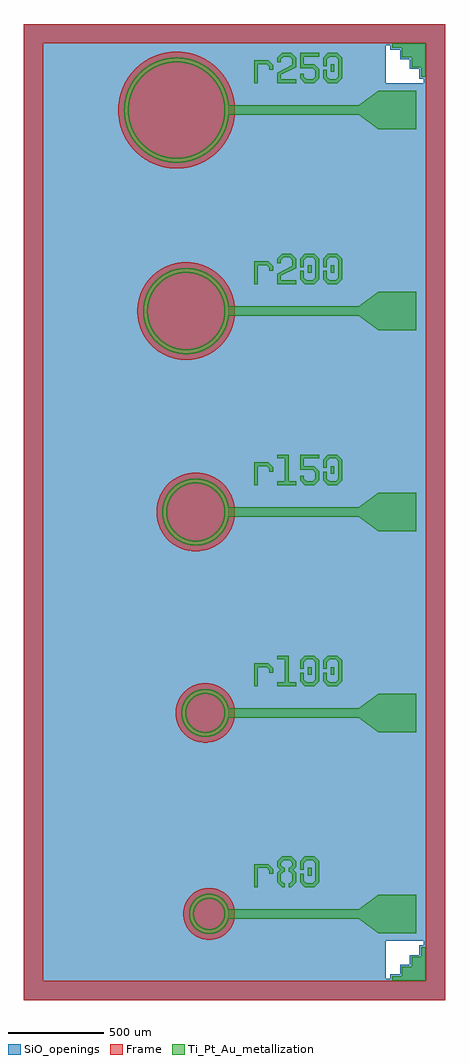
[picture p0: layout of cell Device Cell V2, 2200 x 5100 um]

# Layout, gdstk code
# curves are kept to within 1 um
from math import pi, radians
import gdstk
lib = gdstk.Library(unit=1e-6, precision=1e-09)
def R(c, l, rs):  # rectangles x0, y0, x1, y1
    for r in rs: c.add(gdstk.rectangle(r[:2], r[2:], *l))
def P(c, l, *ps):  # polygons
    for p in ps: c.add(gdstk.Polygon(p, *l))
Frame = (1, 0)
SiO_openings = (2, 0)
Ti_Pt_Au_metallization = (3, 0)

frame_tile = lib.new_cell('Frame Tile')

frame_tile_375 = lib.new_cell('Frame Tile_375')
P(frame_tile_375, Frame, [(0,0),(-100,-100),(-100,5000),(2100,5000),(2100,-100),(-100,-100),(0,0),(2000,0),(2000,4900),(0,4900)])

trapezoid_connection_ele = lib.new_cell('Trapezoid Connection Electrodes Pads')
P(trapezoid_connection_ele, Ti_Pt_Au_metallization, [(0,25),(0,-25),(100,-100),(100,100)])

rf_metal_rings = lib.new_cell('RF metal rings')

devices = lib.new_cell('Devices')
P(devices, Frame, [(0,135),(25.296,132.609),(50.821,125.069),(74.371,112.667),(95.03,95.887),(111.995,75.379),(124.607,51.942),(132.376,26.486),(135,0),(132.609,-25.296),(125.069,-50.821),(112.667,-74.371),(95.887,-95.03),(75.379,-111.995),(51.942,-124.607),(26.486,-132.376),(0,-135),(-25.296,-132.609),(-50.821,-125.069),(-74.371,-112.667),(-95.03,-95.887),(-111.995,-75.379),(-124.607,-51.942),(-132.376,-26.486),(-135,0),(-132.609,25.296),(-125.069,50.821),(-112.667,74.371),(-95.887,95.03),(-75.379,111.995),(-51.942,124.607),(-26.486,132.376)])
R(devices, Ti_Pt_Au_metallization, [(882.5,-100,1082.5,100), (82.5,-25,782.5,25), (515,200,535,240)])
P(devices, Ti_Pt_Au_metallization, [(0,-105),(20.629,-102.954),(39.582,-97.254),(57.917,-87.582),(73.996,-74.496),(87.189,-58.506),(96.985,-40.236),(103,-20.398),(104.998,-0.708),(103.09,19.935),(97.165,39.8),(87.452,58.114),(74.33,74.163),(58.31,87.321),(40.018,97.075),(21.092,102.86),(0.472,104.999),(-20.166,103.045),(-40.018,97.075),(-58.31,87.321),(-74.33,74.163),(-87.452,58.114),(-97.165,39.8),(-102.907,20.86),(-105,0.236),(-103,-20.398),(-96.985,-40.236),(-87.189,-58.506),(-73.996,-74.496),(-57.917,-87.582),(-39.582,-97.254),(-20.629,-102.954),(0,-105),(0,-80),(-20.619,-77.297),(-39.844,-69.372),(-56.378,-56.759),(-69.461,-39.688),(-76.129,-24.585),(-79.627,-7.718),(-79.433,9.506),(-75.557,26.289),(-66.63,44.277),(-53.504,59.476),(-37.006,70.926),(-18.177,77.908),(1.798,79.98),(21.659,77.012),(40.156,69.192),(56.632,56.505),(69.99,38.748),(78.107,17.301),(79.853,-4.851),(75.438,-26.628),(63.93,-48.093),(46.498,-65.1),(24.071,-76.293),(0,-80)],
  [(235,140),(235,260),(309.144,260),(335,234.144),(335,210),(315,210),(315,225.856),(300.856,240),(255,240),(255,140)],
  [(380.856,140),(355,165.856),(355,214.144),(370.856,230),(355,245.856),(355,274.144),(380.856,300),(429.144,300),(455,274.144),(455,245.856),(439.144,230),(455,214.144),(455,165.856),(429.144,140),(414.8,140),(414.8,160),(420.856,160),(435,174.144),(435,205.856),(420.856,220),(414.8,220),(414.8,240),(420.856,240),(435,254.144),(435,265.856),(420.856,280),(389.144,280),(375,265.856),(375,254.144),(389.144,240),(395.2,240),(395.2,220),(389.144,220),(375,205.856),(375,174.144),(389.144,160),(395.2,160),(395.2,140)],
  [(500.856,140),(475,165.856),(475,210),(495,210),(495,174.144),(509.144,160),(540.856,160),(555,174.144),(555,265.856),(540.856,280),(509.144,280),(495,265.856),(495,230),(475,230),(475,274.144),(500.856,300),(549.144,300),(575,274.144),(575,165.856),(549.144,140)])
devices.add(gdstk.Reference(trapezoid_connection_ele, (782.5,0)))
devices.add(gdstk.Reference(rf_metal_rings, (109.274,130.228), rotation=radians(50)))

metal_corner_1_0_0_0_0 = lib.new_cell('Metal Corner:1,0,0,0,0')
R(metal_corner_1_0_0_0_0, Ti_Pt_Au_metallization, [(0,-25,175,0), (0,0,125,50), (0,50,75,100), (0,100,25,150)])

metal_corner_holes = lib.new_cell('Metal Corner Holes')

metal_corner_1_0_0_0_0_3 = lib.new_cell('Metal Corner:1,0,0,0,0_394')
R(metal_corner_1_0_0_0_0_3, Ti_Pt_Au_metallization, [(0,-25,175,0), (0,0,125,50), (0,50,75,100), (0,100,25,150)])

metal_corner_holes_399 = lib.new_cell('Metal Corner Holes_399')

c_trapezoid_connection_ele = lib.new_cell('Trapezoid Connection Electrodes Pads_407')
P(c_trapezoid_connection_ele, Ti_Pt_Au_metallization, [(0,25),(0,-25),(100,-100),(100,100)])

rf_metal_rings_409 = lib.new_cell('RF metal rings_409')

devices_405 = lib.new_cell('Devices_405')
P(devices_405, Frame, [(0,155),(30.41,151.988),(59.637,143.068),(85.389,129.359),(109.109,110.092),(128.587,86.547),(143.068,59.637),(151.988,30.41),(155,0),(151.988,-30.41),(143.068,-59.637),(129.359,-85.389),(110.092,-109.109),(86.547,-128.587),(59.637,-143.068),(30.41,-151.988),(0,-155),(-30.41,-151.988),(-59.637,-143.068),(-85.389,-129.359),(-109.109,-110.092),(-128.587,-86.547),(-143.068,-59.637),(-151.988,-30.41),(-155,0),(-151.988,30.41),(-143.068,59.637),(-129.359,85.389),(-110.092,109.109),(-86.547,128.587),(-59.637,143.068),(-30.41,151.988)])
R(devices_405, Ti_Pt_Au_metallization, [(902.5,-100,1102.5,100), (102.5,-25,802.5,25), (535,200,555,240), (655,200,675,240)])
P(devices_405, Ti_Pt_Au_metallization, [(0,-125),(24.558,-122.564),(48.16,-115.35),(69.884,-103.64),(88.09,-88.686),(103.797,-69.651),(115.458,-47.9),(122.619,-24.283),(125,0.281),(122.508,24.834),(115.242,48.419),(103.483,70.116),(88.488,88.289),(70.349,103.325),(48.678,115.133),(25.109,122.452),(0.562,124.999),(-24.007,122.673),(-47.641,115.565),(-69.417,103.953),(-88.488,88.289),(-103.483,70.116),(-115.242,48.419),(-122.508,24.834),(-125,0.281),(-122.619,-24.283),(-115.458,-47.9),(-103.797,-69.651),(-88.09,-88.686),(-69.884,-103.64),(-48.16,-115.35),(-24.558,-122.564),(0,-125),(0,-100),(-25.773,-96.622),(-49.024,-87.159),(-69.831,-71.579),(-85.921,-51.163),(-94.881,-31.585),(-99.533,-9.648),(-99.292,11.882),(-94.147,33.709),(-82.786,56.093),(-66.209,74.943),(-45.459,89.07),(-21.845,97.585),(3.146,99.951),(27.938,96.018),(50.97,86.035),(70.79,70.631),(80.182,59.756),(87.919,47.647),(97.634,21.626),(99.816,-6.064),(97.916,-20.307),(93.995,-34.132),(87.704,-48.041),(79.37,-60.832),(69.185,-72.204),(57.388,-81.894),(44.254,-89.675),(30.088,-95.366),(15.222,-98.835),(0,-100)],
  [(255,140),(255,260),(329.144,260),(355,234.144),(355,210),(335,210),(335,225.856),(320.856,240),(275,240),(275,140)],
  [(375,140),(375,160),(415,160),(415,280),(375,280),(375,300),(435,300),(435,160),(475,160),(475,140)],
  [(520.856,140),(495,165.856),(495,210),(515,210),(515,174.144),(529.144,160),(560.856,160),(575,174.144),(575,265.856),(560.856,280),(529.144,280),(515,265.856),(515,230),(495,230),(495,274.144),(520.856,300),(569.144,300),(595,274.144),(595,165.856),(569.144,140)],
  [(640.856,140),(615,165.856),(615,210),(635,210),(635,174.144),(649.144,160),(680.856,160),(695,174.144),(695,265.856),(680.856,280),(649.144,280),(635,265.856),(635,230),(615,230),(615,274.144),(640.856,300),(689.144,300),(715,274.144),(715,165.856),(689.144,140)])
devices_405.add(gdstk.Reference(c_trapezoid_connection_ele, (802.5,0)))
devices_405.add(gdstk.Reference(rf_metal_rings_409, (122.13,145.548), rotation=radians(50)))

metal_corner_1_0_0_0_0_4 = lib.new_cell('Metal Corner:1,0,0,0,0_411')
R(metal_corner_1_0_0_0_0_4, Ti_Pt_Au_metallization, [(0,-25,175,0), (0,0,125,50), (0,50,75,100), (0,100,25,150)])

metal_corner_holes_416 = lib.new_cell('Metal Corner Holes_416')

c_metal_corner_1_0_0_0_0_4 = lib.new_cell('Metal Corner:1,0,0,0,0_422')
R(c_metal_corner_1_0_0_0_0_4, Ti_Pt_Au_metallization, [(0,-25,175,0), (0,0,125,50), (0,50,75,100), (0,100,25,150)])

metal_corner_holes_427 = lib.new_cell('Metal Corner Holes_427')

c_trapezoid_connection_ele_ = lib.new_cell('Trapezoid Connection Electrodes Pads_435')
P(c_trapezoid_connection_ele_, Ti_Pt_Au_metallization, [(0,25),(0,-25),(100,-100),(100,100)])

rf_metal_rings_437 = lib.new_cell('RF metal rings_437')

devices_433 = lib.new_cell('Devices_433')
P(devices_433, Frame, [(0,205),(40.219,201.016),(78.875,189.219),(112.934,171.088),(144.305,145.606),(170.067,114.465),(189.219,78.875),(201.016,40.219),(205,0),(201.016,-40.219),(189.219,-78.875),(171.088,-112.934),(145.606,-144.305),(114.465,-170.067),(78.875,-189.219),(40.219,-201.016),(0,-205),(-40.219,-201.016),(-78.875,-189.219),(-112.934,-171.088),(-144.305,-145.606),(-170.067,-114.465),(-189.219,-78.875),(-201.016,-40.219),(-205,0),(-201.016,40.219),(-189.219,78.875),(-171.088,112.934),(-145.606,144.305),(-114.465,170.067),(-78.875,189.219),(-40.219,201.016)])
R(devices_433, Ti_Pt_Au_metallization, [(952.5,-100,1152.5,100), (152.5,-25,852.5,25), (705,200,725,240)])
P(devices_433, Ti_Pt_Au_metallization, [(0,-175),(34.382,-171.589),(67.423,-161.49),(97.837,-145.096),(124.437,-123.047),(146.186,-96.201),(162.238,-65.605),(171.965,-32.452),(175,0.393),(171.512,34.767),(161.941,66.333),(145.753,96.857),(123.883,123.605),(98.488,144.655),(68.149,161.186),(35.153,171.433),(0.787,174.998),(-33.61,171.742),(-66.697,161.792),(-97.184,145.534),(-123.883,123.605),(-145.753,96.857),(-161.941,66.333),(-171.512,34.767),(-175,0.393),(-171.965,-32.452),(-162.238,-65.605),(-146.186,-96.201),(-124.437,-123.047),(-97.837,-145.096),(-67.423,-161.49),(-34.382,-171.589),(0,-175),(0,-150),(-18.827,-148.814),(-37.356,-145.274),(-55.294,-139.437),(-72.358,-131.394),(-89.363,-120.475),(-103.778,-108.306),(-116.551,-94.424),(-127.48,-79.049),(-141.89,-48.655),(-146.595,-31.78),(-149.3,-14.472),(-149.969,3.034),(-148.593,20.498),(-140.289,53.094),(-132.516,70.282),(-122.647,86.358),(-111.742,100.069),(-98.299,113.302),(-83.3,124.744),(-66.985,134.213),(-49.61,141.559),(-31.45,146.666),(-12.794,149.453),(6.066,149.877),(24.829,147.931),(43.2,143.645),(60.887,137.087),(76.455,129.053),(92.048,118.436),(106.185,105.947),(120.274,89.634),(131.879,71.47),(140.761,51.831),(146.736,31.121),(149.682,9.768),(149.636,-10.441),(146.595,-31.78),(140.526,-52.463),(130.903,-73.242),(118.229,-92.314),(103.778,-108.306),(86.082,-122.841),(66.381,-134.512),(45.133,-143.049),(22.832,-148.252),(0,-150)],
  [(305,140),(305,260),(379.144,260),(405,234.144),(405,210),(385,210),(385,225.856),(370.856,240),(325,240),(325,140)],
  [(425,140),(425,160),(465,160),(465,280),(425,280),(425,300),(485,300),(485,160),(525,160),(525,140)],
  [(570.856,140),(545,165.856),(545,190),(565,190),(565,174.144),(579.144,160),(610.856,160),(625,174.144),(625,205.856),(610.856,220),(545,220),(545,300),(645,300),(645,280),(565,280),(565,240),(619.144,240),(645,214.144),(645,165.856),(619.144,140)],
  [(690.856,140),(665,165.856),(665,210),(685,210),(685,174.144),(699.144,160),(730.856,160),(745,174.144),(745,265.856),(730.856,280),(699.144,280),(685,265.856),(685,230),(665,230),(665,274.144),(690.856,300),(739.144,300),(765,274.144),(765,165.856),(739.144,140)])
devices_433.add(gdstk.Reference(c_trapezoid_connection_ele_, (852.5,0)))
devices_433.add(gdstk.Reference(rf_metal_rings_437, (154.269,183.851), rotation=radians(50)))

c_metal_corner_1_0_0_0_0_4_ = lib.new_cell('Metal Corner:1,0,0,0,0_439')
R(c_metal_corner_1_0_0_0_0_4_, Ti_Pt_Au_metallization, [(0,-25,175,0), (0,0,125,50), (0,50,75,100), (0,100,25,150)])

metal_corner_holes_444 = lib.new_cell('Metal Corner Holes_444')

c_metal_corner_1_0_0_0_0_4__ = lib.new_cell('Metal Corner:1,0,0,0,0_450')
R(c_metal_corner_1_0_0_0_0_4__, Ti_Pt_Au_metallization, [(0,-25,175,0), (0,0,125,50), (0,50,75,100), (0,100,25,150)])

metal_corner_holes_455 = lib.new_cell('Metal Corner Holes_455')

c_trapezoid_connection_ele__ = lib.new_cell('Trapezoid Connection Electrodes Pads_463')
P(c_trapezoid_connection_ele__, Ti_Pt_Au_metallization, [(0,25),(0,-25),(100,-100),(100,100)])

rf_metal_rings_465 = lib.new_cell('RF metal rings_465')

devices_461 = lib.new_cell('Devices_461')
P(devices_461, Frame, [(0,255),(25.137,253.758),(50.029,250.044),(74.433,243.895),(98.113,235.37),(120.837,224.552),(142.383,211.547),(160.773,197.932),(179.501,181.12),(196.481,162.543),(211.547,142.383),(224.552,120.837),(235.37,98.113),(243.895,74.433),(250.044,50.029),(253.758,25.137),(255,0),(253.758,-25.137),(250.044,-50.029),(243.895,-74.433),(235.37,-98.113),(224.552,-120.837),(211.547,-142.383),(197.932,-160.773),(181.12,-179.501),(162.543,-196.481),(142.383,-211.547),(120.837,-224.552),(98.113,-235.37),(74.433,-243.895),(50.029,-250.044),(25.137,-253.758),(0,-255),(-25.137,-253.758),(-50.029,-250.044),(-74.433,-243.895),(-98.113,-235.37),(-120.837,-224.552),(-142.383,-211.547),(-160.773,-197.932),(-179.501,-181.12),(-196.481,-162.543),(-211.547,-142.383),(-224.552,-120.837),(-235.37,-98.113),(-243.895,-74.433),(-250.044,-50.029),(-253.758,-25.137),(-255,0),(-253.758,25.137),(-250.044,50.029),(-243.895,74.433),(-235.37,98.113),(-224.552,120.837),(-211.547,142.383),(-197.932,160.773),(-181.12,179.501),(-162.543,196.481),(-142.383,211.547),(-120.837,224.552),(-98.113,235.37),(-74.433,243.895),(-50.029,250.044),(-25.137,253.758)])
R(devices_461, Ti_Pt_Au_metallization, [(1002.5,-100,1202.5,100), (202.5,-25,902.5,25), (635,200,655,240), (755,200,775,240)])
P(devices_461, Ti_Pt_Au_metallization, [(0,-225),(22.211,-223.901),(44.205,-220.615),(84.818,-208.401),(104.976,-199.01),(124.109,-187.675),(142.029,-174.507),(158.562,-159.634),(173.546,-143.202),(186.835,-125.371),(207.041,-88.085),(214.725,-67.217),(220.312,-45.692),(223.746,-23.72),(224.995,-1.517),(224.046,20.701),(220.908,42.717),(215.612,64.315),(208.21,85.286),(198.774,105.423),(187.396,124.53),(160.7,157.482),(144.369,172.576),(126.628,185.985),(107.649,197.577),(87.62,207.239),(66.734,214.876),(45.196,220.414),(23.217,223.799),(1.011,224.998),(-21.205,223.999),(-43.213,220.811),(-64.8,215.467),(-85.753,208.018),(-105.869,198.536),(-124.951,187.116),(-142.812,173.867),(-159.278,158.92),(-174.188,142.421),(-187.396,124.53),(-198.774,105.423),(-208.21,85.286),(-215.612,64.315),(-220.908,42.717),(-224.999,0.506),(-221.098,-41.724),(-215.899,-63.346),(-208.591,-84.349),(-199.246,-104.528),(-187.954,-123.686),(-174.826,-141.636),(-159.99,-158.203),(-143.592,-173.224),(-125.79,-186.552),(-106.76,-198.059),(-86.687,-207.63),(-65.768,-215.173),(-44.205,-220.615),(-22.211,-223.901),(0,-225),(0,-200),(-25.102,-198.418),(-49.808,-193.699),(-73.725,-185.916),(-96.477,-175.192),(-117.702,-161.698),(-137.067,-145.646),(-154.263,-127.291),(-169.02,-106.922),(-180.333,-86.487),(-189.186,-64.873),(-195.46,-42.373),(-199.067,-19.296),(-199.959,4.045),(-198.124,27.33),(-193.586,50.243),(-186.408,72.47),(-175.838,95.293),(-162.487,116.61),(-146.567,136.082),(-129.702,152.242),(-109.568,167.317),(-87.701,179.746),(-66.147,188.745),(-41.934,195.554),(-17.058,199.271),(8.088,199.836),(33.106,197.241),(57.6,191.526),(81.183,182.782),(101.94,172.071),(122.731,157.915),(141.58,141.262),(160.365,119.512),(175.838,95.293),(187.681,69.107),(195.648,41.494),(199.575,13.025),(199.382,-15.714),(195.071,-44.129),(186.732,-71.632),(176.265,-94.502),(161.962,-117.339),(145.954,-136.739),(126.248,-155.118),(98.048,-174.318),(66.994,-188.446),(33.992,-197.09),(0,-200)],
  [(355,140),(355,260),(429.144,260),(455,234.144),(455,210),(435,210),(435,225.856),(420.856,240),(375,240),(375,140)],
  [(475,140),(475,196.18),(555,236.18),(555,265.856),(540.856,280),(509.144,280),(495,265.856),(495,250),(475,250),(475,274.144),(500.856,300),(549.144,300),(575,274.144),(575,223.82),(495,183.82),(495,160),(575,160),(575,140)],
  [(620.856,140),(595,165.856),(595,210),(615,210),(615,174.144),(629.144,160),(660.856,160),(675,174.144),(675,265.856),(660.856,280),(629.144,280),(615,265.856),(615,230),(595,230),(595,274.144),(620.856,300),(669.144,300),(695,274.144),(695,165.856),(669.144,140)],
  [(740.856,140),(715,165.856),(715,210),(735,210),(735,174.144),(749.144,160),(780.856,160),(795,174.144),(795,265.856),(780.856,280),(749.144,280),(735,265.856),(735,230),(715,230),(715,274.144),(740.856,300),(789.144,300),(815,274.144),(815,165.856),(789.144,140)])
devices_461.add(gdstk.Reference(c_trapezoid_connection_ele__, (902.5,0)))
devices_461.add(gdstk.Reference(rf_metal_rings_465, (186.408,222.153), rotation=radians(50)))

c_metal_corner_1_0_0_0_0_4___ = lib.new_cell('Metal Corner:1,0,0,0,0_467')
R(c_metal_corner_1_0_0_0_0_4___, Ti_Pt_Au_metallization, [(0,-25,175,0), (0,0,125,50), (0,50,75,100), (0,100,25,150)])

metal_corner_holes_472 = lib.new_cell('Metal Corner Holes_472')

c_metal_corner_1_0_0_0_0_4____ = lib.new_cell('Metal Corner:1,0,0,0,0_478')
R(c_metal_corner_1_0_0_0_0_4____, Ti_Pt_Au_metallization, [(0,-25,175,0), (0,0,125,50), (0,50,75,100), (0,100,25,150)])

metal_corner_holes_483 = lib.new_cell('Metal Corner Holes_483')

c_trapezoid_connection_ele___ = lib.new_cell('Trapezoid Connection Electrodes Pads_491')
P(c_trapezoid_connection_ele___, Ti_Pt_Au_metallization, [(0,25),(0,-25),(100,-100),(100,100)])

rf_metal_rings_493 = lib.new_cell('RF metal rings_493')

devices_489 = lib.new_cell('Devices_489')
P(devices_489, Frame, [(0,305),(30.066,303.515),(59.838,299.073),(86.406,292.505),(114.819,282.563),(142.113,269.868),(168.024,254.545),(192.297,236.742),(214.697,216.633),(235.007,194.414),(253.026,170.302),(268.582,144.53),(281.521,117.35),(291.717,89.028),(299.073,59.838),(303.515,30.066),(305,0),(303.515,-30.066),(299.073,-59.838),(292.505,-86.406),(282.563,-114.819),(269.868,-142.113),(254.545,-168.024),(236.742,-192.297),(216.633,-214.697),(194.414,-235.007),(170.302,-253.026),(144.53,-268.582),(117.35,-281.521),(89.028,-291.717),(59.838,-299.073),(30.066,-303.515),(0,-305),(-30.066,-303.515),(-59.838,-299.073),(-86.406,-292.505),(-114.819,-282.563),(-142.113,-269.868),(-168.024,-254.545),(-192.297,-236.742),(-214.697,-216.633),(-235.007,-194.414),(-253.026,-170.302),(-268.582,-144.53),(-281.521,-117.35),(-291.717,-89.028),(-299.073,-59.838),(-303.515,-30.066),(-305,0),(-303.515,30.066),(-299.073,59.838),(-292.505,86.406),(-282.563,114.819),(-269.868,142.113),(-254.545,168.024),(-236.742,192.297),(-216.633,214.697),(-194.414,235.007),(-170.302,253.026),(-144.53,268.582),(-117.35,281.521),(-89.028,291.717),(-59.838,299.073),(-30.066,303.515)])
R(devices_489, Ti_Pt_Au_metallization, [(1052.5,-100,1252.5,100), (252.5,-25,952.5,25), (805,200,825,240)])
P(devices_489, Ti_Pt_Au_metallization, [(0,-275),(24.686,-273.89),(51.603,-270.115),(78.015,-263.702),(103.666,-254.712),(128.304,-243.235),(151.688,-229.381),(173.591,-213.287),(193.798,-195.109),(212.112,-175.025),(228.353,-153.231),(242.364,-129.941),(254.008,-105.381),(263.17,-79.791),(269.761,-53.423),(273.468,-28.991),(274.994,-1.854),(273.834,25.301),(269.998,52.21),(263.526,78.608),(254.479,104.238),(242.946,128.85),(229.04,152.203),(212.896,174.07),(194.673,194.236),(174.548,212.504),(152.718,228.697),(129.396,242.656),(107.091,253.292),(81.564,262.626),(55.24,269.395),(28.377,273.532),(1.236,274.997),(-25.917,273.776),(-52.816,269.88),(-79.2,263.348),(-104.81,254.244),(-129.396,242.656),(-152.718,228.697),(-174.548,212.504),(-194.673,194.236),(-212.896,174.07),(-229.04,152.203),(-241.778,131.029),(-253.532,106.521),(-262.809,80.973),(-269.518,54.634),(-273.595,27.762),(-274.999,0.618),(-273.717,-26.532),(-269.761,-53.423),(-263.17,-79.791),(-254.008,-105.381),(-242.364,-129.941),(-228.353,-153.231),(-212.112,-175.025),(-193.798,-195.109),(-173.591,-213.287),(-151.688,-229.381),(-128.304,-243.235),(-103.666,-254.712),(-78.015,-263.702),(-51.603,-270.115),(-24.686,-273.89),(0,-275),(0,-250),(-38.054,-247.087),(-73.075,-239.082),(-108.616,-225.173),(-139.767,-207.28),(-161.27,-191.029),(-179.34,-174.176),(-197.049,-153.856),(-211.274,-133.653),(-225.416,-108.109),(-236.483,-81.091),(-244.325,-52.967),(-248.834,-24.12),(-249.949,5.056),(-247.655,34.163),(-241.983,62.803),(-233.01,90.588),(-219.798,119.117),(-204.411,143.931),(-184.73,168.448),(-162.127,190.302),(-136.96,209.146),(-111.642,223.688),(-82.683,235.931),(-52.417,244.443),(-21.323,249.089),(10.11,249.796),(41.382,246.551),(72,239.408),(101.479,228.478),(127.425,215.088),(153.413,197.394),(176.975,176.578),(200.456,149.39),(219.798,119.117),(235.368,84.272),(245.017,49.668),(249.606,14.038),(249.04,-21.882),(243.333,-57.35),(232.601,-91.634),(218.172,-122.07),(201.126,-148.487),(179.34,-174.176),(154.299,-196.703),(118.623,-220.065),(81.622,-236.3),(42.49,-246.363),(0,-250)],
  [(405,140),(405,260),(479.144,260),(505,234.144),(505,210),(485,210),(485,225.856),(470.856,240),(425,240),(425,140)],
  [(525,140),(525,196.18),(605,236.18),(605,265.856),(590.856,280),(559.144,280),(545,265.856),(545,250),(525,250),(525,274.144),(550.856,300),(599.144,300),(625,274.144),(625,223.82),(545,183.82),(545,160),(625,160),(625,140)],
  [(670.856,140),(645,165.856),(645,190),(665,190),(665,174.144),(679.144,160),(710.856,160),(725,174.144),(725,205.856),(710.856,220),(645,220),(645,300),(745,300),(745,280),(665,280),(665,240),(719.144,240),(745,214.144),(745,165.856),(719.144,140)],
  [(790.856,140),(765,165.856),(765,210),(785,210),(785,174.144),(799.144,160),(830.856,160),(845,174.144),(845,265.856),(830.856,280),(799.144,280),(785,265.856),(785,230),(765,230),(765,274.144),(790.856,300),(839.144,300),(865,274.144),(865,165.856),(839.144,140)])
devices_489.add(gdstk.Reference(c_trapezoid_connection_ele___, (952.5,0)))
devices_489.add(gdstk.Reference(rf_metal_rings_493, (218.548,260.455), rotation=radians(50)))

c_metal_corner_1_0_0_0_0_4_____ = lib.new_cell('Metal Corner:1,0,0,0,0_495')
R(c_metal_corner_1_0_0_0_0_4_____, Ti_Pt_Au_metallization, [(0,-25,175,0), (0,0,125,50), (0,50,75,100), (0,100,25,150)])

metal_corner_holes_500 = lib.new_cell('Metal Corner Holes_500')

metal_corner_1_0_0_0_0_5 = lib.new_cell('Metal Corner:1,0,0,0,0_506')
R(metal_corner_1_0_0_0_0_5, Ti_Pt_Au_metallization, [(0,-25,175,0), (0,0,125,50), (0,50,75,100), (0,100,25,150)])

metal_corner_holes_511 = lib.new_cell('Metal Corner Holes_511')

device_cell_v2 = lib.new_cell('Device Cell V2')
P(device_cell_v2, SiO_openings, [(-185.657,2675.008),(-165.43,2676.191),(-145.419,2679.366),(-125.819,2684.5),(-106.821,2691.543),(-88.611,2700.428),(-71.368,2711.067),(-55.259,2723.356),(-40.441,2737.176),(-27.061,2752.391),(-15.247,2768.852),(-5.116,2786.399),(3.233,2804.86),(9.719,2824.055),(14.278,2843.797),(17.487,2882.303),(16.258,2902.528),(13.039,2922.532),(7.861,2942.12),(0.775,2961.102),(-17.788,2994.991),(-29.968,3011.182),(-43.688,3026.093),(-58.812,3039.576),(-75.193,3051.5),(-92.671,3061.749),(-111.076,3070.222),(-148.128,3081.184),(-168.18,3084.088),(-188.421,3084.998),(-208.653,3083.906),(-228.679,3080.822),(-265.631,3069.527),(-283.959,3060.889),(-301.344,3050.483),(-317.617,3038.412),(-332.62,3024.794),(-346.204,3009.761),(-358.239,2993.461),(-368.605,2976.052),(-377.202,2957.705),(-383.946,2938.598),(-388.772,2918.92),(-391.63,2898.861),(-392.495,2878.618),(-391.358,2858.388),(-388.229,2838.37),(-376.851,2801.444),(-368.172,2783.135),(-357.727,2765.773),(-345.62,2749.527),(-331.967,2734.555),(-316.904,2721.004),(-300.577,2709.007),(-283.145,2698.68),(-264.778,2690.124),(-245.657,2683.422),(-225.967,2678.641),(-205.902,2675.828)],
  [(-136.107,1675.006),(-105.683,1678.301),(-76.499,1687.508),(-50.844,1701.486),(-27.284,1721.016),(-8.021,1744.794),(6.196,1771.893),(14.812,1801.257),(17.49,1831.742),(14.127,1862.158),(4.854,1891.321),(-9.968,1918.094),(-29.761,1941.433),(-53.754,1960.429),(-81.011,1974.34),(-109.099,1982.376),(-139.59,1984.986),(-169.999,1981.555),(-199.141,1972.216),(-225.88,1957.334),(-248.204,1938.488),(-267.361,1914.623),(-281.456,1887.461),(-289.939,1858.058),(-292.481,1827.562),(-288.981,1797.161),(-280.128,1769.319),(-265.427,1742.48),(-245.739,1719.052),(-221.831,1699.949),(-194.637,1685.915),(-166.585,1677.753)],
  [(-86.556,675.004),(-65.946,677.236),(-46.177,683.473),(-28.018,693.473),(-12.838,706.172),(0.212,722.28),(9.843,740.637),(15.5,759.602),(17.5,780.236),(15.407,800.86),(9.665,819.8),(-0.048,838.114),(-13.17,854.163),(-29.19,867.321),(-47.482,877.075),(-67.334,883.045),(-87.972,884.999),(-108.592,882.86),(-127.518,877.075),(-145.81,867.321),(-161.83,854.163),(-174.952,838.114),(-184.665,819.8),(-190.59,799.935),(-192.498,779.292),(-190.5,759.602),(-184.485,739.764),(-174.689,721.494),(-161.496,705.504),(-145.417,692.418),(-127.082,682.746),(-107.203,676.865)],
  [(-66.736,-354.997),(-50.052,-353.19),(-34.048,-348.141),(-19.348,-340.045),(-6.524,-329.22),(3.922,-316.086),(11.584,-301.156),(16.026,-285.762),(17.495,-269.045),(15.65,-252.365),(10.565,-236.372),(2.437,-221.69),(-7.871,-209.425),(-20.934,-198.89),(-35.104,-191.416),(-51.175,-186.582),(-67.882,-185.001),(-84.574,-186.733),(-100.601,-191.71),(-114.704,-199.312),(-127.672,-209.963),(-138.294,-222.955),(-146.157,-237.781),(-150.954,-253.862),(-152.498,-270.573),(-150.729,-287.261),(-145.716,-303.277),(-137.653,-317.995),(-126.857,-330.842),(-113.746,-341.318),(-98.833,-349.014),(-82.699,-353.63)],
  [(-492.468,3925.989),(-491.079,3903.117),(-487.187,3878.216),(-480.855,3853.821),(-472.147,3830.17),(-461.146,3807.494),(-447.96,3786.015),(-432.718,3765.943),(-415.57,3747.473),(-396.682,3730.786),(-376.239,3716.045),(-354.44,3703.395),(-331.5,3692.958),(-307.641,3684.836),(-283.096,3679.11),(-258.107,3675.834),(-232.916,3675.041),(-207.77,3676.739),(-185.155,3680.43),(-160.774,3686.817),(-137.143,3695.578),(-114.492,3706.63),(-93.043,3719.864),(-73.005,3735.151),(-54.573,3752.341),(-37.929,3771.266),(-23.234,3791.742),(-10.633,3813.569),(-0.247,3836.533),(7.821,3860.41),(13.492,3884.967),(16.712,3909.964),(17.448,3935.157),(15.694,3960.299),(11.466,3985.145),(4.806,4009.453),(-4.221,4032.984),(-15.526,4055.51),(-29,4076.809),(-44.511,4096.674),(-61.907,4114.911),(-81.019,4131.342),(-101.659,4145.806),(-123.626,4158.161),(-146.705,4168.288),(-168.462,4175.477),(-193.032,4181.093),(-218.036,4184.256),(-243.23,4184.936),(-268.368,4183.125),(-293.205,4178.841),(-317.497,4172.127),(-341.008,4163.047),(-361.511,4152.815),(-382.9,4139.485),(-402.869,4124.108),(-421.223,4106.835),(-437.782,4087.835),(-452.385,4067.293),(-463.842,4047.449),(-474.331,4024.532),(-482.506,4000.691),(-488.287,3976.16),(-491.619,3951.178)],
  [(1165,-720),(1165,4380),(-1035,4380),(-1035,3930.607),(-507.499,3930.607),(-506.121,3957.257),(-502.589,3981.26),(-496.918,4004.85),(-488.262,4030.093),(-478.264,4052.199),(-466.323,4073.318),(-452.534,4093.28),(-435.365,4113.71),(-418.075,4130.73),(-399.327,4146.13),(-377.201,4161.049),(-355.897,4172.657),(-333.636,4182.305),(-308.26,4190.563),(-284.584,4195.863),(-258.109,4199.212),(-221.734,4199.539),(-185.644,4194.974),(-148.202,4184.806),(-114.76,4170.489),(-81.559,4150.414),(-53.346,4127.452),(-28.475,4100.905),(-6.635,4070),(855,4070),(855,4270),(880,4270),(880,4245),(930,4245),(930,4195),(980,4195),(980,4145),(1030,4145),(1030,4095),(1055,4095),(1055,4070),(-6.635,4070),(9.502,4039.042),(21.234,4007.178),(28.875,3974.094),(32.303,3940.312),(31.464,3906.367),(26.371,3872.796),(16.286,3837.845),(2.713,3806.72),(-14.66,3777.546),(-35.557,3750.782),(-59.648,3726.853),(-86.551,3706.137),(-115.843,3688.962),(-147.058,3675.598),(-182.076,3665.75),(-215.681,3660.883),(-244.78,3660.098),(-271.388,3662.135),(-300.029,3667.34),(-325.652,3674.796),(-350.414,3684.744),(-376.161,3698.326),(-398.354,3713.145),(-420.765,3731.723),(-439.443,3750.782),(-457.563,3773.564),(-473.126,3798.165),(-484.989,3822.069),(-494.435,3847.027),(-501.874,3875.17),(-505.995,3901.536),(-507.499,3930.607),(-1035,3930.607),(-1035,2880.494),(-407.499,2880.494),(-406.376,2902.209),(-403.115,2923.708),(-391.083,2963.39),(-381.857,2983.08),(-370.732,3001.763),(-357.817,3019.256),(-343.238,3035.389),(-327.138,3050.003),(-309.674,3062.958),(-291.016,3074.125),(-271.348,3083.395),(-231.692,3095.516),(-210.201,3098.826),(-188.489,3099.998),(-166.767,3099.021),(-145.247,3095.904),(-124.14,3090.679),(-103.652,3083.395),(-83.984,3074.125),(-65.326,3062.958),(-47.862,3050.003),(-31.762,3035.389),(-17.183,3019.256),(-4.268,3001.763),(6.857,2983.08),(16.083,2963.39),(28.115,2923.708),(31.376,2902.209),(32.499,2880.494),(31.474,2858.775),(28.309,2837.262),(16.456,2797.525),(7.318,2777.795),(-3.723,2759.062),(-16.559,2741.511),(-31.065,2725.313),(-47.099,2710.626),(-64.505,2697.593),(-83.112,2686.343),(-102.739,2676.984),(-123.194,2669.608),(-144.277,2664.288),(-165.782,2661.075),(-187.5,2660),(-209.218,2661.075),(-230.723,2664.288),(-251.806,2669.608),(-272.261,2676.984),(-291.888,2686.343),(-310.495,2697.593),(-327.901,2710.626),(-343.935,2725.313),(-358.441,2741.511),(-371.277,2759.062),(-382.318,2777.795),(-391.456,2797.525),(-403.309,2837.262),(-406.474,2858.775),(-407.499,2880.494),(-1035,2880.494),(-1035,1830.382),(-307.5,1830.382),(-304.111,1863.774),(-294.229,1895.849),(-278.237,1925.358),(-257.843,1950.073),(-233.174,1970.522),(-203.702,1986.58),(-171.648,1996.535),(-138.264,1999.998),(-106.351,1997.122),(-74.124,1987.745),(-44.367,1972.219),(-18.241,1951.15),(3.237,1925.358),(19.229,1895.849),(29.111,1863.774),(32.5,1830.382),(29.261,1796.975),(19.523,1764.856),(4.51,1736.548),(-16.618,1710.469),(-42.458,1689.049),(-72.003,1673.124),(-104.101,1663.313),(-137.5,1660),(-170.899,1663.313),(-202.997,1673.124),(-232.542,1689.049),(-258.382,1710.469),(-279.51,1736.548),(-294.523,1764.856),(-304.261,1796.975),(-307.5,1830.382),(-1035,1830.382),(-1035,780.27),(-207.5,780.27),(-205.108,803.84),(-198.132,826.482),(-186.844,847.312),(-172.448,864.757),(-154.14,879.795),(-133.235,890.943),(-110.547,897.766),(-88.039,899.999),(-64.453,897.766),(-41.765,890.943),(-21.759,880.39),(-3.317,865.518),(11.844,847.312),(23.132,826.482),(30.108,803.84),(32.5,780.27),(30.419,757.747),(23.749,735.014),(12.742,714.034),(-2.172,695.625),(-20.412,680.505),(-41.267,669.264),(-63.924,662.339),(-87.5,660),(-111.076,662.339),(-133.733,669.264),(-154.588,680.505),(-172.828,695.625),(-187.742,714.034),(-198.749,735.014),(-205.419,757.747),(-207.5,780.27),(-1035,780.27),(-1035,-269.775),(-167.5,-269.775),(-165.507,-250.133),(-160.038,-232.095),(-150.787,-214.653),(-138.29,-199.369),(-123.034,-186.837),(-106.442,-177.894),(-87.587,-172.038),(-67.949,-170.001),(-48.294,-171.862),(-29.387,-177.548),(-11.966,-186.837),(2.652,-198.735),(15.286,-213.907),(24.693,-231.265),(30.507,-250.133),(32.5,-269.775),(30.595,-289.426),(24.866,-308.32),(15.538,-325.72),(2.972,-340.949),(-12.341,-353.411),(-29.803,-362.623),(-48.735,-368.224),(-67.5,-370),(-86.265,-368.224),(-105.197,-362.623),(-122.659,-353.411),(-137.972,-340.949),(-150.538,-325.72),(-159.866,-308.32),(-165.595,-289.426),(-167.5,-269.775),(-1035,-269.775),(-1035,-610),(855,-610),(855,-410),(1055,-410),(1055,-435),(1030,-435),(1030,-485),(980,-485),(980,-535),(930,-535),(930,-585),(880,-585),(880,-610),(-1035,-610),(-1035,-720)])
device_cell_v2.add(gdstk.Reference(frame_tile, (-935,-620)))
device_cell_v2.add(gdstk.Reference(frame_tile_375, (-935,-620)))
device_cell_v2.add(gdstk.Reference(devices, (-67.5,-270)))
device_cell_v2.add(gdstk.Reference(metal_corner_1_0_0_0_0, (1065,4255), rotation=pi))
device_cell_v2.add(gdstk.Reference(metal_corner_holes, (880,4270), rotation=3*pi/2))
device_cell_v2.add(gdstk.Reference(metal_corner_1_0_0_0_0_3, (1040,-620), rotation=pi/2))
device_cell_v2.add(gdstk.Reference(metal_corner_holes_399, (1055,-435), rotation=pi))
device_cell_v2.add(gdstk.Reference(devices_405, (-87.5,780)))
device_cell_v2.add(gdstk.Reference(metal_corner_1_0_0_0_0_4, (1065,4255), rotation=pi))
device_cell_v2.add(gdstk.Reference(metal_corner_holes_416, (880,4270), rotation=3*pi/2))
device_cell_v2.add(gdstk.Reference(c_metal_corner_1_0_0_0_0_4, (1040,-620), rotation=pi/2))
device_cell_v2.add(gdstk.Reference(metal_corner_holes_427, (1055,-435), rotation=pi))
device_cell_v2.add(gdstk.Reference(devices_433, (-137.5,1830)))
device_cell_v2.add(gdstk.Reference(c_metal_corner_1_0_0_0_0_4_, (1065,4255), rotation=pi))
device_cell_v2.add(gdstk.Reference(metal_corner_holes_444, (880,4270), rotation=3*pi/2))
device_cell_v2.add(gdstk.Reference(c_metal_corner_1_0_0_0_0_4__, (1040,-620), rotation=pi/2))
device_cell_v2.add(gdstk.Reference(metal_corner_holes_455, (1055,-435), rotation=pi))
device_cell_v2.add(gdstk.Reference(devices_461, (-187.5,2880)))
device_cell_v2.add(gdstk.Reference(c_metal_corner_1_0_0_0_0_4___, (1065,4255), rotation=pi))
device_cell_v2.add(gdstk.Reference(metal_corner_holes_472, (880,4270), rotation=3*pi/2))
device_cell_v2.add(gdstk.Reference(c_metal_corner_1_0_0_0_0_4____, (1040,-620), rotation=pi/2))
device_cell_v2.add(gdstk.Reference(metal_corner_holes_483, (1055,-435), rotation=pi))
device_cell_v2.add(gdstk.Reference(devices_489, (-237.5,3930)))
device_cell_v2.add(gdstk.Reference(c_metal_corner_1_0_0_0_0_4_____, (1065,4255), rotation=pi))
device_cell_v2.add(gdstk.Reference(metal_corner_holes_500, (880,4270), rotation=3*pi/2))
device_cell_v2.add(gdstk.Reference(metal_corner_1_0_0_0_0_5, (1040,-620), rotation=pi/2))
device_cell_v2.add(gdstk.Reference(metal_corner_holes_511, (1055,-435), rotation=pi))

lib.write_gds('Device_Cell_V2.gds')
